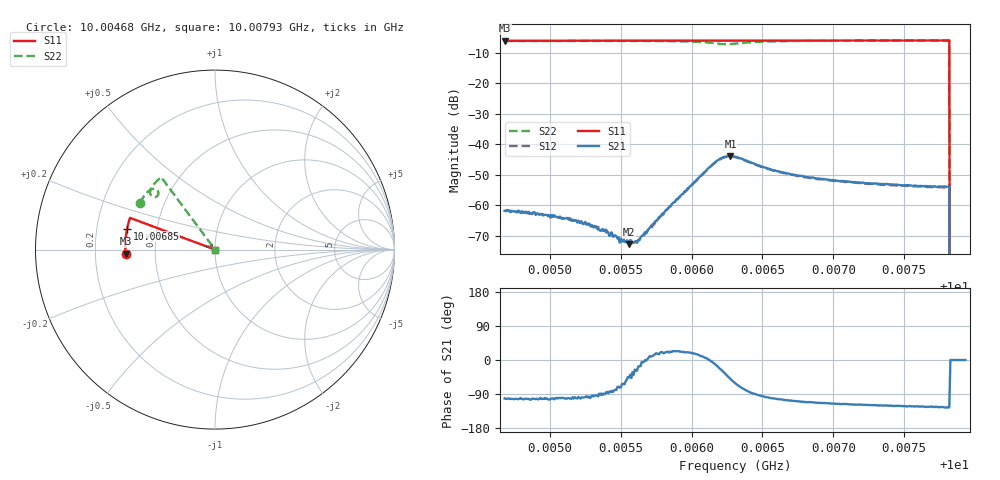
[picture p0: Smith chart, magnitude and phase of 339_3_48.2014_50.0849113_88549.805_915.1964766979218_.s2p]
#  HZ  S  RI  R  50.00
! Rohde & Schwarz Vector Network Analyzer
! Rohde-Schwarz,ZNB20-2Port,1311601062101988,3.16
! Created: UTC 3/20/2024, 11:51:13 AM
! freq[Hz]  re:S11  im:S11  re:S21  im:S21  re:S12  im:S12  re:S22  im:S22
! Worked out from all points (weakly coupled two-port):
!   401 points, 10.00468 GHz to 10.00793 GHz, reference 50 ohm
!   highest |S21| = -43.86 dB at 10.00627 GHz (marker M1); lowest = -72.8 dB at 10.00556 GHz (marker M2)
!   lowest |S11| = -6.0 dB at 10.00468 GHz (marker M3), VSWR 2.99, Z = 16.7 - j1.01 ohm
!   |S11| at or under -10 dB: 10.00782 GHz to end of sweep
!   |S22| runs from - to -6.0 dB; largest |S21 - S12| = 0.00038
!   S11 on the Smith chart (normalised r, x): 10.00468 GHz: 0.33, -0.02; 10.00685 GHz: 0.33, +0.10; 10.00793 GHz: 1.00, +0.00
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1.0004681e10  -0.4985 -0.0227  -0.00016 -0.000789  -0.000148 -0.000808  -0.4199 0.259
1.0005014e10  -0.4997 -0.00111  -0.000138 -0.000675  -0.0001 -0.00065  -0.4084 0.2787
1.0005128e10  -0.4999 0.00624  -0.000112 -0.000602  -8.1e-05 -0.000592  -0.4042 0.2856
1.0005225e10  -0.4999 0.0125  -7.9e-05 -0.000525  -5.41e-05 -0.000538  -0.4002 0.2913
1.0005266e10  -0.5 0.0152  -7.64e-05 -0.000488  -7.08e-05 -0.00047  -0.3985 0.2938
1.0005347e10  -0.4999 0.0204  7.88e-06 -0.000401  -1.77e-05 -0.000426  -0.395 0.2987
1.0005388e10  -0.4998 0.0232  -3.05e-06 -0.000383  1.34e-05 -0.00038  -0.3933 0.3011
1.000551e10  -0.4996 0.0309  0.000113 -0.000224  0.000134 -0.000212  -0.3875 0.3086
1.0005559e10  -0.4995 0.0341  0.000158 -0.000165  0.000147 -0.000152  -0.385 0.3116
1.0005615e10  -0.4994 0.0378  0.000212 -0.000112  0.000236 -8.18e-05  -0.3818 0.315
1.0005664e10  -0.4994 0.041  0.000339 -2.54e-05  0.000319 -2.77e-05  -0.3791 0.3183
1.000577e10  -0.4989 0.0478  0.000609 0.000165  0.000565 0.000199  -0.372 0.325
1.0006144e10  -0.4964 0.072  0.00455 -0.00038  0.00449 -0.000177  -0.3207 0.3292
1.0006209e10  -0.4957 0.0759  0.00533 -0.00257  0.00529 -0.00225  -0.3155 0.3099
1.0006274e10  -0.4952 0.0799  0.00412 -0.00491  0.00428 -0.00458  -0.3296 0.2935
1.0006306e10  -0.4951 0.0818  0.00305 -0.00545  0.00325 -0.00518  -0.3398 0.2923
1.0006583e10  -0.4928 0.0995  -0.000767 -0.00364  -0.000595 -0.00362  -0.3598 0.3312
1.0006851e10  -0.4897 0.1165  -0.00104 -0.00263  -0.000913 -0.0026  -0.3483 0.354
1.0007395e10  -0.4815 0.1507  -0.00111 -0.0019  -0.00102 -0.00189  -0.3215 0.3846
1.0007802e10  -0.4738 0.1757  -0.00114 -0.00165  -0.00104 -0.00165  -0.3009 0.4034
1.0007842e10  0 0  0 0  0 0  0 0
1.0007932e10  0 0  0 0  0 0  0 0
